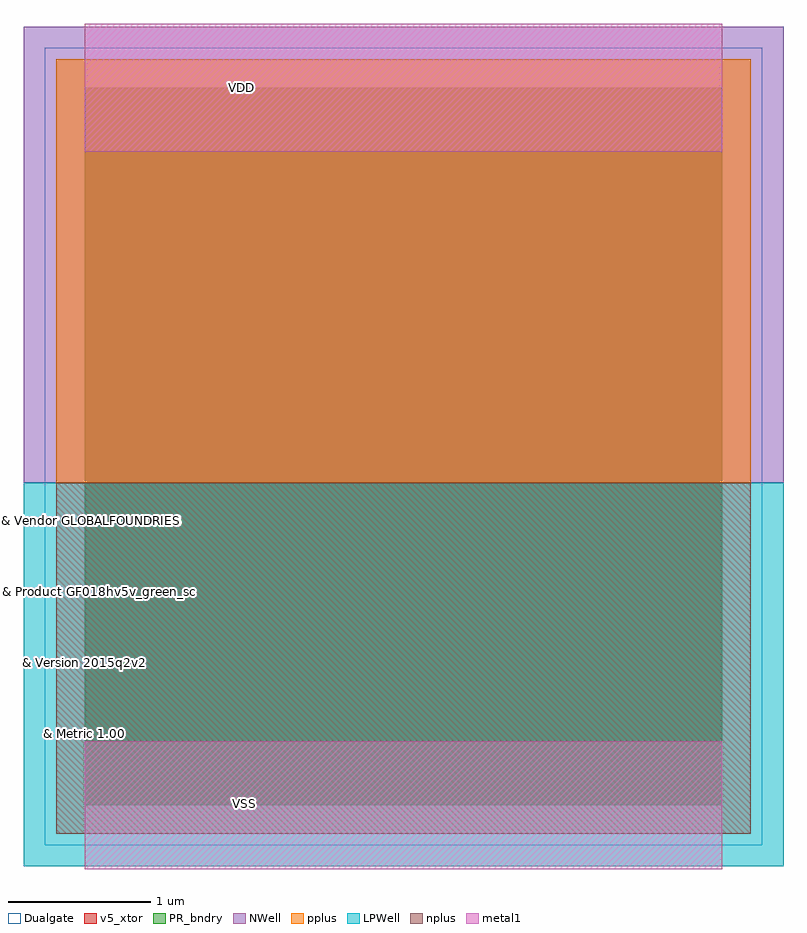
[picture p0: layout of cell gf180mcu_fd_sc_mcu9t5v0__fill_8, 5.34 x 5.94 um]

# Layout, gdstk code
import gdstk
lib = gdstk.Library(unit=1e-6, precision=1e-09)
def R(c, l, rs):  # rectangles x0, y0, x1, y1
    for r in rs: c.add(gdstk.rectangle(r[:2], r[2:], *l))
PR_bndry = (0, 0)
NWell = (21, 0)
pplus = (31, 0)
nplus = (32, 0)
metal1 = (34, 0)
Dualgate = (55, 0)
v5_xtor = (112, 1)
LPWell = (204, 0)

gf180mcu_fd_sc_mcu9t5v0_ = lib.new_cell('gf180mcu_fd_sc_mcu9t5v0__fill_8')
R(gf180mcu_fd_sc_mcu9t5v0_, PR_bndry, [(0,0,4.48,5.04)])
R(gf180mcu_fd_sc_mcu9t5v0_, NWell, [(-0.43,2.265,4.91,5.47)])
R(gf180mcu_fd_sc_mcu9t5v0_, pplus, [(-0.2,2.265,4.68,5.24)])
R(gf180mcu_fd_sc_mcu9t5v0_, nplus, [(-0.2,-0.2,4.68,2.265)])
R(gf180mcu_fd_sc_mcu9t5v0_, metal1, [(0,-0.45,4.48,0.45), (0,4.59,4.48,5.49)])
R(gf180mcu_fd_sc_mcu9t5v0_, Dualgate, [(-0.28,-0.28,4.76,5.32)])
R(gf180mcu_fd_sc_mcu9t5v0_, v5_xtor, [(0,0,4.48,5.04)])
R(gf180mcu_fd_sc_mcu9t5v0_, LPWell, [(-0.43,-0.43,4.91,2.265)])
gf180mcu_fd_sc_mcu9t5v0_.add(gdstk.Label('VDD', (1.1,5.04), layer=34, texttype=10))
gf180mcu_fd_sc_mcu9t5v0_.add(gdstk.Label('VSS', (1.125,0.01), layer=34, texttype=10))
gf180mcu_fd_sc_mcu9t5v0_.add(gdstk.Label('& Vendor GLOBALFOUNDRIES', (0,2), layer=63, texttype=63))
gf180mcu_fd_sc_mcu9t5v0_.add(gdstk.Label('& Product GF018hv5v_green_sc9', (0,1.5), layer=63, texttype=63))
gf180mcu_fd_sc_mcu9t5v0_.add(gdstk.Label('& Version 2015q2v2', (0,1), layer=63, texttype=63))
gf180mcu_fd_sc_mcu9t5v0_.add(gdstk.Label('& Metric 1.00', (0,0.5), layer=63, texttype=63))

lib.write_gds('gf180mcu_fd_sc_mcu9t5v0__fill_8.gds')
